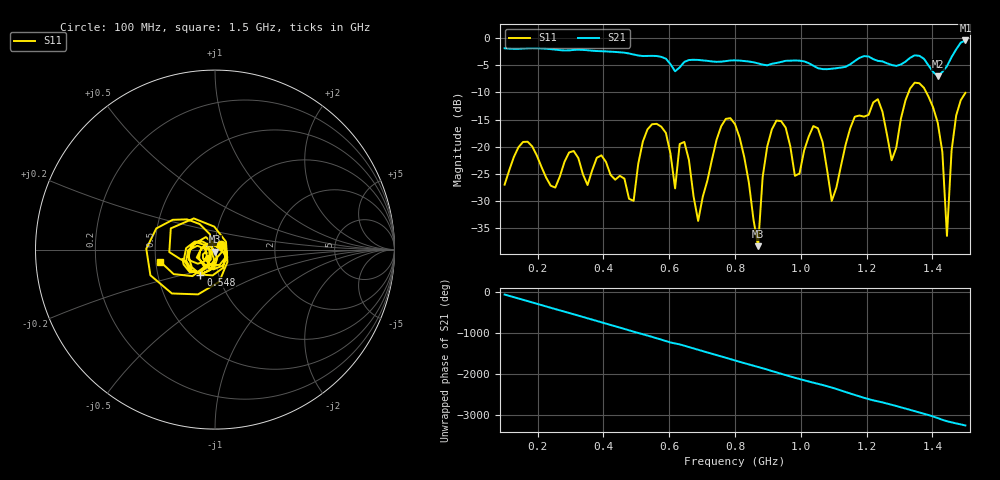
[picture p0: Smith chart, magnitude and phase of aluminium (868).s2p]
! NanoVNA-App
! Date: 2025-09-25 15:02:02
! Start: 100MHz Stop: 1,5GHz Points: 101
! S-Parameter data: F S11 S21 S12 S22
# Hz S RI R 50
!  Frequency  S11_Real  S11_Imag  S21_Real  S21_Imag  S12_Real  S12_Imag  S22_Real  S22_Imag
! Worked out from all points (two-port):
!   101 points, 100 MHz to 1.5 GHz, reference 50 ohm
!   highest |S21| = -0.49 dB at 1.5 GHz (marker M1); lowest = -7.1 dB at 1.416 GHz (marker M2)
!   |S21| within 3 dB of the highest: start of sweep to 574.5 MHz; 1.459 GHz to end of sweep (the widest 2 of 4)
!   lowest |S11| = -38.2 dB at 870 MHz (marker M3), VSWR 1.02, Z = 50 - j1.22 ohm
!   |S11| at or under -10 dB: start of sweep to 1.328 GHz; 1.381 GHz to end of sweep
!   S12 and S22 are empty: the file has one direction only
!   S11 on the Smith chart (normalised r, x): 100 MHz: 1.07, +0.06; 548 MHz: 0.82, -0.23; 1.5 GHz: 0.53, -0.08
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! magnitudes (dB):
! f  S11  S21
! 100 MHz  -27.0  -1.9
! 156 MHz  -19.1  -2.0
! 338 MHz  -25.1  -2.2
! 492 MHz  -29.9  -3.1
! 548 MHz  -15.9  -3.3
! 576 MHz  -16.3  -3.5
! 618 MHz  -27.6  -6.2
! 646 MHz  -19.1  -4.4
! 688 MHz  -33.6  -4.1
! 800 MHz  -15.9  -4.1
! 870 MHz  -38.2  -4.7
! 912 MHz  -16.8  -4.8
! 982 MHz  -25.3  -4.2
! 1.038 GHz  -16.2  -5.1
! 1.094 GHz  -29.9  -5.7
! 1.234 GHz  -11.3  -4.2
! 1.276 GHz  -22.5  -5.0
! 1.346 GHz  -8.2  -3.2
! 1.416 GHz  -15.6  -7.1
! 1.444 GHz  -36.4  -5.2
! 1.458 GHz  -20.7  -3.5
! 1.5 GHz  -10.1  -0.5
